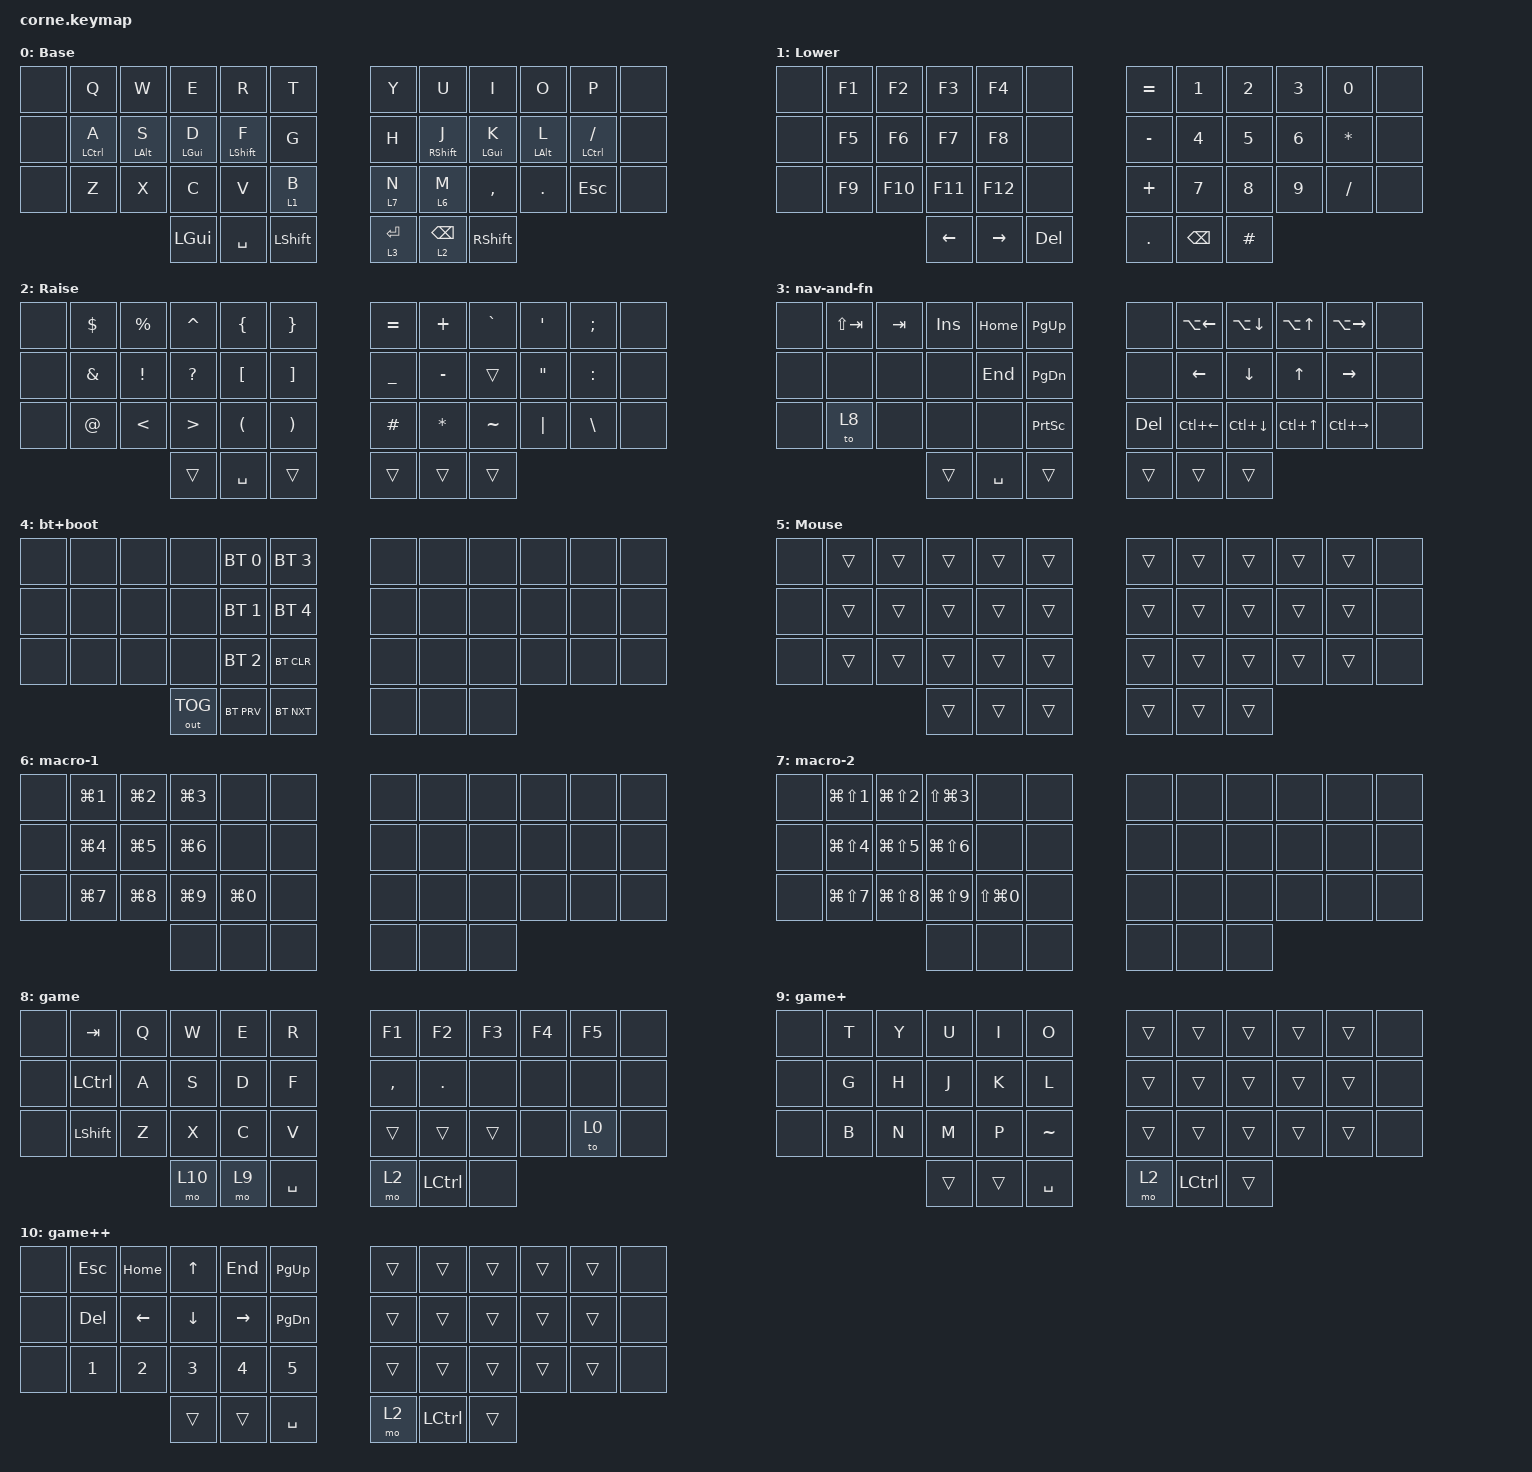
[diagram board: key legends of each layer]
/*
 * Copyright (c) 2020 The ZMK Contributors
 *
 * SPDX-License-Identifier: MIT
 */

#include <behaviors.dtsi>
#include <dt-bindings/zmk/bt.h>
#include <dt-bindings/zmk/keys.h>
#include <dt-bindings/zmk/outputs.h>

#define HM_TAPPING_TERM 300
#define HM_TAPPING_TERM_FAST 200
#define HM_PRIOR_IDLE 150
#define COMBO_TERM_FAST 35
#define COMBO_TERM_SLOW 40
#define COMBO_PRIOR_IDLE 100

/ {
    behaviors {
        lt: layer_tap {
            compatible = "zmk,behavior-hold-tap";
            #binding-cells = <2>;
            flavor = "balanced";
            tapping-term-ms = <240>;
            quick-tap-ms = <0>;
            bindings = <&mo>, <&kp>;
        };

        bhm: balanced_homerow_mods {
            compatible = "zmk,behavior-hold-tap";
            #binding-cells = <2>;
            tapping-term-ms = <HM_TAPPING_TERM>;
            quick-tap-ms = <175>;
            require-prior-idle-ms = <HM_PRIOR_IDLE>;
            flavor = "balanced";
            bindings = <&kp>, <&kp>;
        };
    };

    combos {
        compatible = "zmk,combos";

        escape {
            bindings = <&kp ESCAPE>;
            key-positions = <9 10>;
            require-prior-idle-ms = <COMBO_PRIOR_IDLE>;
        };

        tab {
            bindings = <&kp TAB>;
            key-positions = <1 2>;
            require-prior-idle-ms = <COMBO_PRIOR_IDLE>;
        };

        delete {
            bindings = <&kp DELETE>;
            key-positions = <34 33>;
            require-prior-idle-ms = <COMBO_PRIOR_IDLE>;
        };

        caps_word {
            bindings = <&caps_word>;
            key-positions = <16 19>;
        };

        btconfig {
            bindings = <&mo 4>;
            key-positions = <25 26 27>;
        };
    };

    keymap {
        compatible = "zmk,keymap";

        Base {
            label = "Base";
            bindings = <
&none  &kp Q         &kp W        &kp E         &kp R          &kp T             &kp Y         &kp U               &kp I            &kp O            &kp P             &none
&none  &bhm LCTRL A  &bhm LALT S  &bhm LGUI D   &bhm LSHIFT F  &kp G             &kp H         &bhm RIGHT_SHIFT J  &bhm LEFT_GUI K  &bhm LEFT_ALT L  &bhm LCTRL SLASH  &none
&none  &kp Z         &kp X        &kp C         &kp V          &lt 1 B           &lt 7 N       &lt 6 M             &kp COMMA        &kp DOT          &kp ESCAPE        &none
                                  &kp LEFT_GUI  &kp SPACE      &kp LEFT_SHIFT    &lt 3 RETURN  &lt 2 BACKSPACE     &kp RIGHT_SHIFT
            >;
        };

        Lower {
            label = "Lower";
            bindings = <
&none  &kp F1  &kp F2   &kp F3    &kp F4     &none         &kp EQUAL   &kp N1         &kp N2    &kp N3        &kp N0     &none
&none  &kp F5  &kp F6   &kp F7    &kp F8     &none         &kp MINUS   &kp N4         &kp N5    &kp NUMBER_6  &kp ASTRK  &none
&none  &kp F9  &kp F10  &kp F11   &kp F12    &none         &kp PLUS    &kp N7         &kp N8    &kp N9        &kp SLASH  &none
                        &kp LEFT  &kp RIGHT  &kp DELETE    &kp PERIOD  &kp BACKSPACE  &kp HASH
            >;
        };

        Raise {
            label = "Raise";
            bindings = <
&none  &kp DOLLAR  &kp PERCENT    &kp CARET         &kp LBRC   &kp RBRC    &kp EQUAL  &kp PLUS      &kp GRAVE  &kp SINGLE_QUOTE   &kp SEMICOLON  &none
&none  &kp AMPS    &kp EXCL       &kp QMARK         &kp LBKT   &kp RBKT    &kp UNDER  &kp MINUS     &trans     &kp DOUBLE_QUOTES  &kp COLON      &none
&none  &kp AT      &kp LESS_THAN  &kp GREATER_THAN  &kp LPAR   &kp RPAR    &kp HASH   &kp ASTERISK  &kp TILDE  &kp PIPE           &kp BACKSLASH  &none
                                  &trans            &kp SPACE  &trans      &trans     &trans        &trans
            >;
        };

        nav-and-fn {
            label = "nav-and-fn";
            bindings = <
&none  &kp LS(TAB)  &kp TAB  &kp INSERT  &kp HOME   &kp PAGE_UP        &none       &kp LA(LEFT)  &kp LA(DOWN)  &kp LA(UP)  &kp LA(RIGHT)  &none
&none  &none        &none    &none       &kp END    &kp PAGE_DOWN      &none       &kp LEFT      &kp DOWN      &kp UP      &kp RIGHT      &none
&none  &to 8        &none    &none       &none      &kp PRINTSCREEN    &kp DELETE  &kp LC(LEFT)  &kp LC(DOWN)  &kp LC(UP)  &kp LC(RIGHT)  &none
                             &trans      &kp SPACE  &trans             &trans      &trans        &trans
            >;
        };

        bt+boot {
            label = "bt+boot";
            bindings = <
&none  &none  &none  &none         &bt BT_SEL 0  &bt BT_SEL 3    &none  &none  &none  &none  &none  &none
&none  &none  &none  &none         &bt BT_SEL 1  &bt BT_SEL 4    &none  &none  &none  &none  &none  &none
&none  &none  &none  &none         &bt BT_SEL 2  &bt BT_CLR      &none  &none  &none  &none  &none  &none
                     &out OUT_TOG  &bt BT_PRV    &bt BT_NXT      &none  &none  &none
            >;
        };

        Mouse {
            bindings = <
&none  &trans  &trans  &trans  &trans  &trans    &trans  &trans  &trans  &trans  &trans  &none
&none  &trans  &trans  &trans  &trans  &trans    &trans  &trans  &trans  &trans  &trans  &none
&none  &trans  &trans  &trans  &trans  &trans    &trans  &trans  &trans  &trans  &trans  &none
                       &trans  &trans  &trans    &trans  &trans  &trans
            >;
        };

        macro-1 {
            bindings = <
&none  &kp LG(N1)  &kp LG(N2)  &kp LG(N3)  &none       &none    &none  &none  &none  &none  &none  &none
&none  &kp LG(N4)  &kp LG(N5)  &kp LG(N6)  &none       &none    &none  &none  &none  &none  &none  &none
&none  &kp LG(N7)  &kp LG(N8)  &kp LG(N9)  &kp LG(N0)  &none    &none  &none  &none  &none  &none  &none
                               &none       &none       &none    &none  &none  &none
            >;
        };

        macro-2 {
            bindings = <
&none  &kp LG(LS(N1))  &kp LG(LS(N2))  &kp LS(LG(N3))  &none           &none    &none  &none  &none  &none  &none  &none
&none  &kp LG(LS(N4))  &kp LG(LS(N5))  &kp LG(LS(N6))  &none           &none    &none  &none  &none  &none  &none  &none
&none  &kp LG(LS(N7))  &kp LG(LS(N8))  &kp LG(LS(N9))  &kp LS(LG(N0))  &none    &none  &none  &none  &none  &none  &none
                                       &none           &none           &none    &none  &none  &none
            >;
        };

        game {
            bindings = <
&none  &kp TAB     &kp Q  &kp W   &kp E  &kp R        &kp F1     &kp F2            &kp F3  &kp F4  &kp F5  &none
&none  &kp LCTRL   &kp A  &kp S   &kp D  &kp F        &kp COMMA  &kp PERIOD        &none   &none   &none   &none
&none  &kp LSHIFT  &kp Z  &kp X   &kp C  &kp V        &trans     &trans            &trans  &none   &to 0   &none
                          &mo 10  &mo 9  &kp SPACE    &mo 2      &kp LEFT_CONTROL  &none
            >;
        };

        game+ {
            bindings = <
&none  &kp T  &kp Y  &kp U   &kp I   &kp O        &trans  &trans            &trans  &trans  &trans  &none
&none  &kp G  &kp H  &kp J   &kp K   &kp L        &trans  &trans            &trans  &trans  &trans  &none
&none  &kp B  &kp N  &kp M   &kp P   &kp TILDE    &trans  &trans            &trans  &trans  &trans  &none
                     &trans  &trans  &kp SPACE    &mo 2   &kp LEFT_CONTROL  &trans
            >;
        };

        game++ {
            bindings = <
&none  &kp ESC  &kp HOME  &kp UP    &kp END    &kp PAGE_UP      &trans  &trans            &trans  &trans  &trans  &none
&none  &kp DEL  &kp LEFT  &kp DOWN  &kp RIGHT  &kp PAGE_DOWN    &trans  &trans            &trans  &trans  &trans  &none
&none  &kp N1   &kp N2    &kp N3    &kp N4     &kp N5           &trans  &trans            &trans  &trans  &trans  &none
                          &trans    &trans     &kp SPACE        &mo 2   &kp LEFT_CONTROL  &trans
            >;
        };
    };
};
